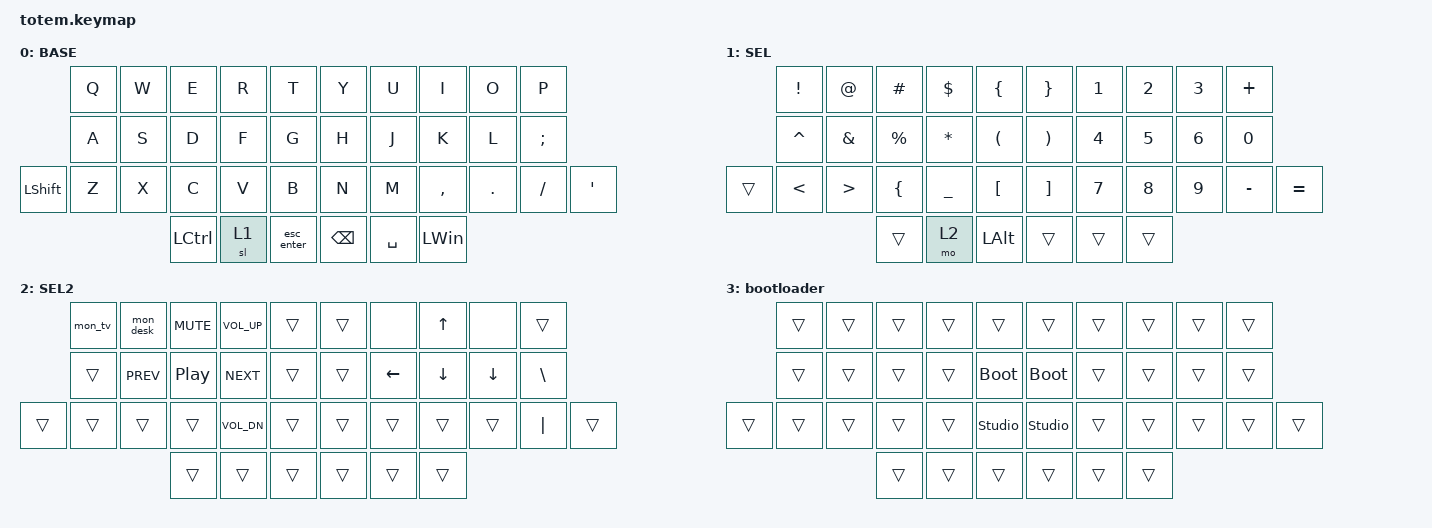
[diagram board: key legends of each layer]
//
//                                                        ▀▀▀▀▀     ▀▀▀▀▀          ▀▀█▀▀
//                                                        ▄▀▀▀▄  ▄  ▄▀▀▀▄  ▄  ▄▀▀▀▄  █  ▄▀▀▀▄
//                                                        █   █  █  █   █  █  █   █  █  █   █
//                                                         ▀▀▀   █   ▀▀▀   █   ▀▀▀   ▀   ▀▀▀
//                                                               █      ▄▄▄█▄▄▄    █   █  
//                                                               ▀      █  █  █     █▄█
//                                                             ▀▀▀▀▀    █  █  █      ▀
//                                                                      ▀  ▀  ▀
//
// ▄▄▄▄▄▄▄▄▄▄▄▄▄▄▄▄▄▄▄▄▄▄▄▄▄▄▄▄▄▄▄▄▄▄▄▄▄▄▄▄▄▄▄▄▄▄▄▄▄▄▄▄▄▄▄▄▄▄▄▄▄▄▄▄▄▄▄▄▄▄▄▄▄▄▄▄▄▄▄▄▄▄▄▄▄▄▄▄▄▄▄▄▄▄▄▄▄▄▄▄▄▄▄▄▄▄▄▄▄▄▄▄▄▄▄▄▄▄▄▄▄▄▄▄▄▄▄▄▄▄▄▄▄▄▄▄▄▄▄▄▄▄▄▄▄▄▄▄▄

#include <behaviors.dtsi>
#include <dt-bindings/zmk/keys.h>

#define BASE 0
#define NAV  1
#define SYM  2
#define ADJ  3

&mt {
    quick-tap-ms = <100>;
    global-quick-tap;
    flavor = "tap-preferred";
    tapping-term-ms = <170>;
};

/ {
    combos {
        compatible = "zmk,combos";

        Bootloader {
            bindings = <&bootloader>;
            key-positions = <20 34 35 31>;
        };

        enter {
            bindings = <&kp ENTER>;
            key-positions = <16 17>;
        };

        tab {
            bindings = <&kp TAB>;
            key-positions = <13 12>;
        };
    };

    behaviors {
        bksp_del: bksp_del {
            compatible = "zmk,behavior-mod-morph";
            label = "BKSP_DEL";
            bindings = <&kp BACKSPACE>, <&kp DELETE>;

            #binding-cells = <0>;
            mods = <(MOD_LSFT|MOD_RSFT)>;
        };

        up_pgup: up_pgup {
            compatible = "zmk,behavior-mod-morph";
            label = "UP_PGUP";
            bindings = <&kp UP_ARROW>, <&kp PG_UP>;

            #binding-cells = <0>;
            mods = <(MOD_RSFT)>;
        };

        down_pgdown: down_pgdown {
            compatible = "zmk,behavior-mod-morph";
            label = "DOWN_PGDOWN";
            bindings = <&kp DOWN_ARROW>, <&kp PAGE_DOWN>;

            #binding-cells = <0>;
            mods = <(MOD_RSFT)>;
        };

        left_home: left_home {
            compatible = "zmk,behavior-mod-morph";
            label = "LEFT_HOME";
            bindings = <&kp LEFT_ARROW>, <&kp HOME>;

            #binding-cells = <0>;
            mods = <(MOD_RSFT)>;
        };

        right_end: right_end {
            compatible = "zmk,behavior-mod-morph";
            label = "RIGHT_END";
            bindings = <&kp RIGHT_ARROW>, <&kp END>;

            #binding-cells = <0>;
            mods = <(MOD_RSFT)>;
        };

        esc_enter: esc_enter {
            compatible = "zmk,behavior-mod-morph";
            label = "ESC_ENTER";
            bindings = <&kp ESCAPE>, <&kp ENTER>;

            #binding-cells = <0>;
            mods = <(MOD_LSFT)>;
            keep-mods = <(MOD_LSFT)>;
        };
    };

    macros {
        mon_tv: mon_tv {
            compatible = "zmk,behavior-macro";
            #binding-cells = <0>;
            bindings = <&kp LEFT_ALT &kp LEFT_WIN &kp NUMBER_1>;
            label = "MON_TV";
        };

        mon_desk: mon_desk {
            compatible = "zmk,behavior-macro";
            #binding-cells = <0>;
            bindings = <&kp LEFT_ALT &kp LEFT_WIN &kp NUMBER_2>;
            label = "MON_DESK";
        };
    };

    keymap {
        compatible = "zmk,keymap";

        // ▄▄▄▄▄▄▄▄▄▄▄▄▄▄▄▄▄▄▄▄▄▄▄▄▄▄▄▄▄▄▄▄▄▄▄▄▄▄▄▄▄▄▄▄▄▄▄▄▄▄▄▄▄▄▄▄▄▄▄▄▄▄▄▄▄▄▄▄▄▄▄▄▄▄▄▄▄▄▄▄▄▄▄▄▄▄▄▄▄▄▄▄▄▄▄▄▄▄▄▄▄▄▄▄▄▄▄▄▄▄▄▄▄▄▄▄▄▄▄▄▄▄▄▄▄▄▄▄▄▄▄▄▄▄▄▄▄▄▄▄▄▄▄▄▄▄▄▄▄

        base_layer {
            // ┏━━━━━━━━━━━━━━━━━━━━━━━━━━━━━━━━━━━━━━━┓

            label = "BASE";

            // ┗━━━━━━━━━━━━━━━━━━━━━━━━━━━━━━━━━━━━━━━┛
            //             ┏━━━━━━━━━━━┳━━━━━━━━━━━┳━━━━━━━━━━━┳━━━━━━━━━━━┳━━━━━━━━━━━┓   ┏━━━━━━━━━━━┳━━━━━━━━━━━┳━━━━━━━━━━━┳━━━━━━━━━━━┳━━━━━━━━━━━┓
            //             ┃     Q     ┃     W     ┃     E     ┃     R     ┃     T     ┃   ┃     Y     ┃     U     ┃     I     ┃     O     ┃     P     ┃
            //             ┣━━━━━━━━━━━╋━━━━━━━━━━━╋━━━━━━━━━━━╋━━━━━━━━━━━╋━━━━━━━━━━━┫   ┣━━━━━━━━━━━╋━━━━━━━━━━━╋━━━━━━━━━━━╋━━━━━━━━━━━╋━━━━━━━━━━━┫
            //             ┃     A     ┃     S     ┃     D     ┃     F     ┃     G     ┃   ┃     H     ┃     J     ┃     K     ┃     L     ┃     ;     ┃
            // ┏━━━━━━━━━━━╋━━━━━━━━━━━╋━━━━━━━━━━━╋━━━━━━━━━━━╋━━━━━━━━━━━╋━━━━━━━━━━━┫   ┣━━━━━━━━━━━╋━━━━━━━━━━━╋━━━━━━━━━━━╋━━━━━━━━━━━╋━━━━━━━━━━━╋━━━━━━━━━━━┓
            // ┃     Q     ┃     Z     ┃     X     ┃     C     ┃     V     ┃     B     ┃   ┃     N     ┃     M     ┃     ,     ┃     .     ┃     /     ┃     \     ┃
            // ┗━━━━━━━━━━━┻━━━━━━━━━━━┻━━━━━━━━━━━╋━━━━━━━━━━━╋━━━━━━━━━━━╋━━━━━━━━━━━┫   ┣━━━━━━━━━━━╋━━━━━━━━━━━╋━━━━━━━━━━━╋━━━━━━━━━━━┻━━━━━━━━━━━┻━━━━━━━━━━━┛
            //                                     ┃    DEL    ┃    TAB    ┃    SPC    ┃   ┃   ENTER   ┃           ┃   BSPC    ┃
            //                                     ┗━━━━━━━━━━━┻━━━━━━━━━━━┻━━━━━━━━━━━┛   ┗━━━━━━━━━━━┻━━━━━━━━━━━┻━━━━━━━━━━━┛

            bindings = <
                &kp Q  &kp W  &kp E             &kp R  &kp T         &kp Y          &kp U      &kp I         &kp O    &kp P
                &kp A  &kp S  &kp D             &kp F  &kp G         &kp H          &kp J      &kp K         &kp L    &kp SEMICOLON
&kp LEFT_SHIFT  &kp Z  &kp X  &kp C             &kp V  &kp B         &kp N          &kp M      &kp COMMA     &kp DOT  &kp SLASH      &kp SINGLE_QUOTE
                              &kp LEFT_CONTROL  &sl 1  &esc_enter    &kp BACKSPACE  &kp SPACE  &kp LEFT_WIN
            >;
        };

        SEL {
            bindings = <
        &kp EXCLAMATION  &kp AT_SIGN       &kp HASH        &kp DOLLAR      &kp LEFT_BRACE          &kp RIGHT_BRACE        &kp NUMBER_1  &kp NUMBER_2  &kp NUMBER_3  &kp PLUS
        &kp CARET        &kp AMPERSAND     &kp PERCENT     &kp ASTERISK    &kp LEFT_PARENTHESIS    &kp RIGHT_PARENTHESIS  &kp NUMBER_4  &kp NUMBER_5  &kp NUMBER_6  &kp NUMBER_0
&trans  &kp LESS_THAN    &kp GREATER_THAN  &kp LEFT_BRACE  &kp UNDERSCORE  &kp LEFT_BRACKET        &kp RIGHT_BRACKET      &kp NUMBER_7  &kp NUMBER_8  &kp NUMBER_9  &kp MINUS     &kp EQUAL
                                           &trans          &mo 2           &kp LEFT_ALT            &trans                 &trans        &trans
            >;
        };

        SEL2 {
            bindings = <
        &mon_tv  &mon_desk   &kp C_MUTE        &kp C_VOLUME_UP  &trans    &trans  &none     &kp UP_ARROW  &none     &trans
        &trans   &kp C_PREV  &kp C_PLAY_PAUSE  &kp C_NEXT       &trans    &trans  &kp LEFT  &kp DOWN      &kp DOWN  &kp BACKSLASH
&trans  &trans   &trans      &trans            &kp C_VOL_DN     &trans    &trans  &trans    &trans        &trans    &kp PIPE       &trans
                             &trans            &trans           &trans    &trans  &trans    &trans
            >;
        };

        bootloader {
            bindings = <
        &trans  &trans  &trans  &trans  &trans            &trans          &trans  &trans  &trans  &trans
        &trans  &trans  &trans  &trans  &bootloader       &bootloader     &trans  &trans  &trans  &trans
&trans  &trans  &trans  &trans  &trans  &studio_unlock    &studio_unlock  &trans  &trans  &trans  &trans  &trans
                        &trans  &trans  &trans            &trans          &trans  &trans
            >;
        };

        // ▄▄▄▄▄▄▄▄▄▄▄▄▄▄▄▄▄▄▄▄▄▄▄▄▄▄▄▄▄▄▄▄▄▄▄▄▄▄▄▄▄▄▄▄▄▄▄▄▄▄▄▄▄▄▄▄▄▄▄▄▄▄▄▄▄▄▄▄▄▄▄▄▄▄▄▄▄▄▄▄▄▄▄▄▄▄▄▄▄▄▄▄▄▄▄▄▄▄▄▄▄▄▄▄▄▄▄▄▄▄▄▄▄▄▄▄▄▄▄▄▄▄▄▄▄▄▄▄▄▄▄▄▄▄▄▄▄▄▄▄▄▄▄▄▄▄▄▄▄
        // ▄▄▄▄▄▄▄▄▄▄▄▄▄▄▄▄▄▄▄▄▄▄▄▄▄▄▄▄▄▄▄▄▄▄▄▄▄▄▄▄▄▄▄▄▄▄▄▄▄▄▄▄▄▄▄▄▄▄▄▄▄▄▄▄▄▄▄▄▄▄▄▄▄▄▄▄▄▄▄▄▄▄▄▄▄▄▄▄▄▄▄▄▄▄▄▄▄▄▄▄▄▄▄▄▄▄▄▄▄▄▄▄▄▄▄▄▄▄▄▄▄▄▄▄▄▄▄▄▄▄▄▄▄▄▄▄▄▄▄▄▄▄▄▄▄▄▄▄▄
        // ▄▄▄▄▄▄▄▄▄▄▄▄▄▄▄▄▄▄▄▄▄▄▄▄▄▄▄▄▄▄▄▄▄▄▄▄▄▄▄▄▄▄▄▄▄▄▄▄▄▄▄▄▄▄▄▄▄▄▄▄▄▄▄▄▄▄▄▄▄▄▄▄▄▄▄▄▄▄▄▄▄▄▄▄▄▄▄▄▄▄▄▄▄▄▄▄▄▄▄▄▄▄▄▄▄▄▄▄▄▄▄▄▄▄▄▄▄▄▄▄▄▄▄▄▄▄▄▄▄▄▄▄▄▄▄▄▄▄▄▄▄▄▄▄▄▄▄▄▄
    };
};
